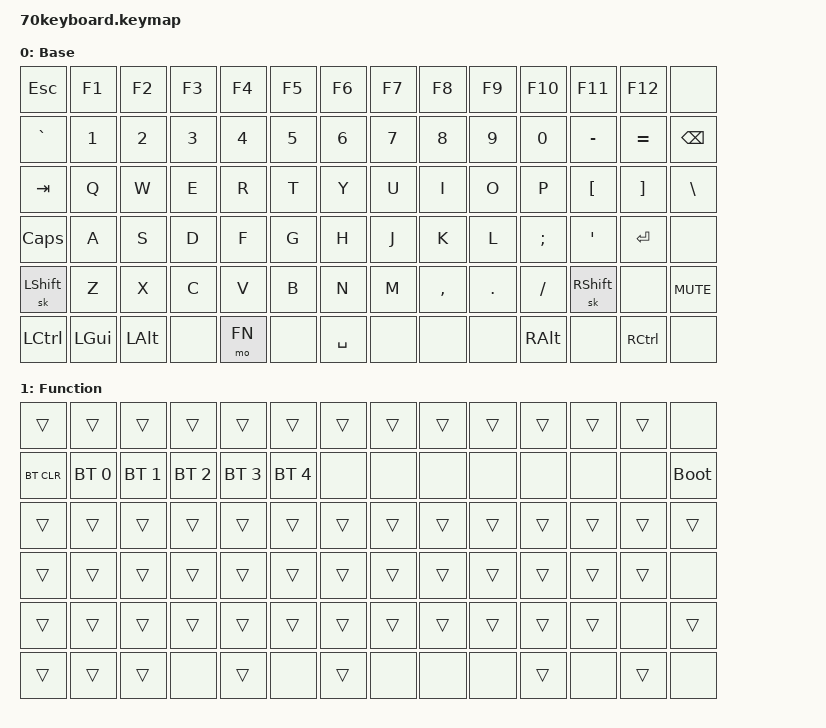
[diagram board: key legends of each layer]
#include <behaviors.dtsi>
#include <dt-bindings/zmk/keys.h>
#include <dt-bindings/zmk/bt.h>
#include <dt-bindings/zmk/outputs.h>

#define BASE 0
#define FN   1

/ {
    keymap {
        compatible = "zmk,keymap";

        base_layer {
            label = "Base";
            bindings = <
    &kp ESC   &kp F1    &kp F2    &kp F3    &kp F4    &kp F5    &kp F6    &kp F7    &kp F8    &kp F9    &kp F10   &kp F11   &kp F12              &none
    &kp GRAVE &kp N1    &kp N2    &kp N3    &kp N4    &kp N5    &kp N6    &kp N7    &kp N8    &kp N9    &kp N0    &kp MINUS &kp EQUAL &kp BSPC
    &kp TAB   &kp Q     &kp W     &kp E     &kp R     &kp T     &kp Y     &kp U     &kp I     &kp O     &kp P     &kp LBKT  &kp RBKT  &kp BSLH
    &kp CAPS  &kp A     &kp S     &kp D     &kp F     &kp G     &kp H     &kp J     &kp K     &kp L     &kp SEMI  &kp SQT   &kp RET              &none
    &sk LSHFT &kp Z     &kp X     &kp C     &kp V     &kp B     &kp N     &kp M     &kp COMMA &kp DOT   &kp FSLH  &sk RSHFT &none     &kp MUTE
    &kp LCTRL &kp LGUI  &kp LALT  &none     &mo FN    &none     &kp SPACE &none     &none     &none     &kp RALT  &none     &kp RCTRL            &none
            >;
        };

        fn_layer {
            label = "Function";
            bindings = <
    &trans    &trans    &trans    &trans    &trans    &trans    &trans    &trans    &trans    &trans    &trans    &trans    &trans               &none
    &bt BT_CLR &bt BT_SEL 0 &bt BT_SEL 1 &bt BT_SEL 2 &bt BT_SEL 3 &bt BT_SEL 4 &none      &none     &none     &none     &none     &none     &none    &bootloader
    &trans    &trans    &trans    &trans    &trans    &trans    &trans    &trans    &trans    &trans    &trans    &trans    &trans    &trans
    &trans    &trans    &trans    &trans    &trans    &trans    &trans    &trans    &trans    &trans    &trans    &trans    &trans               &none
    &trans    &trans    &trans    &trans    &trans    &trans    &trans    &trans    &trans    &trans    &trans    &trans    &none     &trans
    &trans    &trans    &trans    &none     &trans    &none     &trans    &none     &none     &none     &trans    &none     &trans               &none
            >;
        };
    };

    sensors {
        compatible = "zmk,keymap-sensors";
        sensors = <&encoder>;
        triggers-per-rotation = <20>;
    };

    sensor-bindings {
        compatible = "zmk,sensor-bindings";
        sensors = <&encoder>;
        bindings = <
            &kp C_VOL_UP &kp C_VOL_DN
        >;
    };
};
